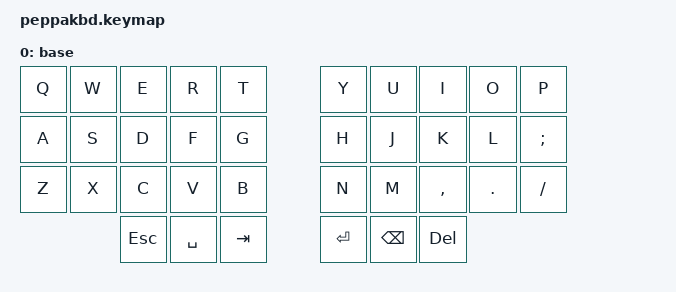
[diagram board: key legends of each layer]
#include <dt-bindings/zmk/keys.h>

/ {
    keymap {
        compatible = "zmk,keymap";

        base {
            bindings = <
                &kp Q     &kp W     &kp E     &kp R     &kp T     &kp Y     &kp U     &kp I     &kp O     &kp P
                &kp A     &kp S     &kp D     &kp F     &kp G     &kp H     &kp J     &kp K     &kp L     &kp SEMI
                &kp Z     &kp X     &kp C     &kp V     &kp B     &kp N     &kp M     &kp COMMA &kp DOT   &kp FSLH
                                    &kp ESC   &kp SPACE &kp TAB   &kp ENTER &kp BSPC  &kp DEL
            >;
        };
    };
};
